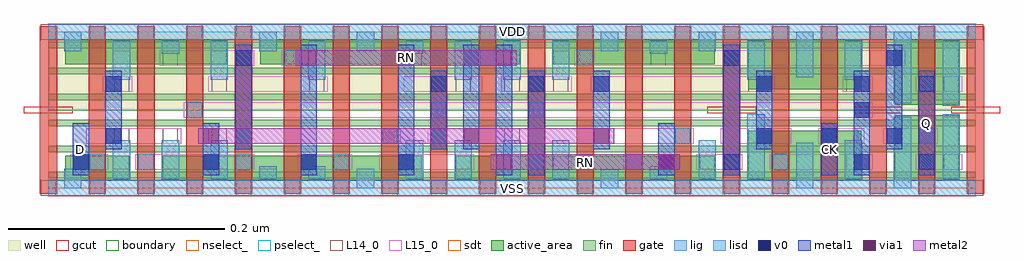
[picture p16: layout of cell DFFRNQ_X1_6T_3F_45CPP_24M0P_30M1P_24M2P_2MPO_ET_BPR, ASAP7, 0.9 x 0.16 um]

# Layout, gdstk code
import gdstk
lib = gdstk.Library(unit=1e-6, precision=2.5e-10)
def R(c, l, rs):  # rectangles x0, y0, x1, y1
    for r in rs: c.add(gdstk.rectangle(r[:2], r[2:], *l))
def A(c, l, x, y, w, h, nx, ny, dx, dy):  # array of equal rectangles
    R(c, l, [(x+i*dx, y+j*dy, x+i*dx+w, y+j*dy+h) for i in range(nx) for j in range(ny)])
well = (1, 0)
fin = (2, 0)
gate = (7, 0)
gcut = (10, 0)
active_area = (11, 0)
nselect_ = (12, 0)
pselect_ = (13, 0)
L14_0 = (14, 0)
L15_0 = (15, 0)
lig = (16, 0)
lisd = (17, 0)
v0 = (18, 0)
metal1 = (19, 0)
metal2 = (20, 0)
via1 = (21, 0)
sdt = (88, 0)
boundary = (100, 0)

dffrnq_x1_6t_3f_45cpp_24 = lib.new_cell('DFFRNQ_X1_6T_3F_45CPP_24M0P_30M1P_24M2P_2MPO_ET_BPR')
R(dffrnq_x1_6t_3f_45cpp_24, well, [(0,0.072,0.855,0.144)])
A(dffrnq_x1_6t_3f_45cpp_24, fin, 0, 0.009, 0.855, 0.006, 1, 6, 0, 0.024)
A(dffrnq_x1_6t_3f_45cpp_24, gate, -0.008, -0.005, 0.016, 0.154, 20, 1, 0.045, 0)
R(dffrnq_x1_6t_3f_45cpp_24, gcut, [(0,-0.0075,0.855,0.0075), (-0.0225,0.069,0.0225,0.075), (0.6075,0.069,0.6525,0.075), (0.7425,0.069,0.7875,0.075), (0.8325,0.069,0.8775,0.075), (0,0.1365,0.855,0.1515)])
A(dffrnq_x1_6t_3f_45cpp_24, active_area, 0.1055, 0.007, 0.059, 0.023, 5, 1, 0.045, 0)
A(dffrnq_x1_6t_3f_45cpp_24, active_area, 0.3755, 0.007, 0.059, 0.023, 5, 1, 0.045, 0)
A(dffrnq_x1_6t_3f_45cpp_24, active_area, 0.0155, 0.114, 0.059, 0.023, 3, 1, 0.045, 0)
A(dffrnq_x1_6t_3f_45cpp_24, active_area, 0.1955, 0.114, 0.059, 0.023, 5, 1, 0.045, 0)
A(dffrnq_x1_6t_3f_45cpp_24, active_area, 0.4655, 0.114, 0.059, 0.023, 3, 1, 0.045, 0)
R(dffrnq_x1_6t_3f_45cpp_24, active_area, [(0.0155,0.007,0.0745,0.03), (0.6455,0.007,0.7045,0.053), (0.6905,0.007,0.7495,0.053), (0.7805,0.007,0.8395,0.067), (0.7805,0.077,0.8395,0.137), (0.6455,0.091,0.7045,0.137), (0.6905,0.091,0.7495,0.137)])
R(dffrnq_x1_6t_3f_45cpp_24, nselect_, [(0,0,0.855,0.072)])
R(dffrnq_x1_6t_3f_45cpp_24, pselect_, [(0,0.072,0.855,0.144)])
A(dffrnq_x1_6t_3f_45cpp_24, L14_0, -0.007, -0.007, 0.014, 0.014, 20, 2, 0.045, 0.144)
A(dffrnq_x1_6t_3f_45cpp_24, L14_0, 0.083, 0.017, 0.014, 0.014, 3, 1, 0.09, 0)
A(dffrnq_x1_6t_3f_45cpp_24, L14_0, 0.4655, 0.017, 0.014, 0.014, 5, 1, 0.0675, 0)
A(dffrnq_x1_6t_3f_45cpp_24, L14_0, 0.0605, 0.041, 0.014, 0.014, 3, 1, 0.045, 0)
A(dffrnq_x1_6t_3f_45cpp_24, L14_0, 0.578, 0.041, 0.014, 0.014, 3, 1, 0.0675, 0)
A(dffrnq_x1_6t_3f_45cpp_24, L14_0, 0.0605, 0.089, 0.014, 0.014, 3, 1, 0.09, 0)
A(dffrnq_x1_6t_3f_45cpp_24, L14_0, 0.3755, 0.089, 0.014, 0.014, 3, 1, 0.045, 0)
A(dffrnq_x1_6t_3f_45cpp_24, L14_0, 0.6455, 0.089, 0.014, 0.014, 3, 1, 0.09, 0)
A(dffrnq_x1_6t_3f_45cpp_24, L14_0, 0.1055, 0.113, 0.014, 0.014, 3, 1, 0.1125, 0)
R(dffrnq_x1_6t_3f_45cpp_24, L14_0, [(0.038,0.017,0.052,0.031), (0.3305,0.017,0.3445,0.031), (0.3755,0.017,0.3895,0.031), (0.8255,0.017,0.8395,0.031), (0.308,0.041,0.322,0.055), (0.4205,0.041,0.4345,0.055), (0.803,0.041,0.817,0.055), (0.128,0.065,0.142,0.079), (0.353,0.065,0.367,0.079), (0.443,0.065,0.457,0.079), (0.398,0.113,0.412,0.127), (0.488,0.113,0.502,0.127), (0.5555,0.113,0.5695,0.127)])
R(dffrnq_x1_6t_3f_45cpp_24, L15_0, [(0,-0.007,0.855,0.007), (0.02,0.017,0.055,0.031), (0.08,0.017,0.19,0.031), (0.23,0.017,0.28,0.031), (0.305,0.017,0.3925,0.031), (0.44,0.017,0.4825,0.031), (0.53,0.017,0.58,0.031), (0.5975,0.017,0.64,0.031), (0.665,0.017,0.76,0.031), (0.8,0.017,0.8425,0.031), (0.035,0.041,0.1225,0.055), (0.1475,0.041,0.325,0.055), (0.35,0.041,0.595,0.055), (0.62,0.041,0.685,0.055), (0.71,0.041,0.7525,0.055), (0.77,0.041,0.82,0.055), (0.125,0.065,0.76,0.079), (0.05,0.089,0.0775,0.103), (0.1475,0.089,0.2575,0.103), (0.3275,0.089,0.4,0.103), (0.4175,0.089,0.4825,0.103), (0.5,0.089,0.67,0.103), (0.7325,0.089,0.76,0.103), (0.8,0.089,0.8425,0.103), (0.1025,0.113,0.19,0.127), (0.215,0.113,0.3475,0.127), (0.38,0.113,0.415,0.127), (0.485,0.113,0.79,0.127), (0,0.137,0.855,0.151)])
A(dffrnq_x1_6t_3f_45cpp_24, lig, 0.083, 0.017, 0.014, 0.014, 3, 1, 0.09, 0)
R(dffrnq_x1_6t_3f_45cpp_24, lig, [(0,-0.007,0.855,0.007), (0.038,0.017,0.052,0.031), (0.533,0.017,0.547,0.031), (0.668,0.017,0.682,0.031), (0.308,0.041,0.322,0.055), (0.578,0.041,0.592,0.055), (0.713,0.041,0.727,0.055), (0.803,0.041,0.817,0.055), (0.128,0.065,0.142,0.079), (0.353,0.065,0.367,0.079), (0.443,0.065,0.457,0.079), (0.218,0.113,0.232,0.127), (0.398,0.113,0.412,0.127), (0.488,0.113,0.502,0.127), (0,0.137,0.855,0.151)])
A(dffrnq_x1_6t_3f_45cpp_24, lisd, 0.0595, 0.008, 0.016, 0.036, 3, 1, 0.045, 0)
A(dffrnq_x1_6t_3f_45cpp_24, lisd, 0.3295, 0.008, 0.016, 0.036, 4, 1, 0.045, 0)
A(dffrnq_x1_6t_3f_45cpp_24, lisd, 0.0595, 0.1, 0.016, 0.036, 3, 1, 0.09, 0)
A(dffrnq_x1_6t_3f_45cpp_24, lisd, 0.3745, 0.1, 0.016, 0.036, 3, 1, 0.045, 0)
A(dffrnq_x1_6t_3f_45cpp_24, lisd, 0.1045, 0.124, 0.016, 0.012, 3, 1, 0.225, 0)
R(dffrnq_x1_6t_3f_45cpp_24, lisd, [(0.0145,0,0.0305,0.018), (0.2845,0,0.3005,0.018), (0.5095,0,0.5255,0.018), (0.6895,0,0.7055,0.042), (0.7795,0,0.7955,0.066), (0.1945,0.008,0.2105,0.02), (0.2395,0.008,0.2555,0.02), (0.5545,0.008,0.5705,0.02), (0.5995,0.008,0.6155,0.044), (0.6445,0.008,0.6605,0.068), (0.7345,0.008,0.7505,0.044), (0.8245,0.008,0.8405,0.068), (0.8245,0.076,0.8405,0.136), (0.7795,0.078,0.7955,0.144), (0.6445,0.1,0.6605,0.136), (0.7345,0.1,0.7505,0.136), (0.6895,0.102,0.7055,0.144), (0.0145,0.126,0.0305,0.144), (0.1945,0.126,0.2105,0.144), (0.2845,0.126,0.3005,0.144), (0.5095,0.126,0.5255,0.144), (0.5995,0.126,0.6155,0.144)])
A(dffrnq_x1_6t_3f_45cpp_24, v0, 0.143, 0.017, 0.014, 0.014, 3, 1, 0.09, 0)
A(dffrnq_x1_6t_3f_45cpp_24, v0, 0.653, 0.041, 0.014, 0.014, 3, 1, 0.06, 0)
R(dffrnq_x1_6t_3f_45cpp_24, v0, [(0.023,0.017,0.037,0.031), (0.443,0.017,0.457,0.031), (0.563,0.017,0.577,0.031), (0.623,0.017,0.637,0.031), (0.743,0.017,0.757,0.031), (0.803,0.017,0.817,0.031), (0.053,0.041,0.067,0.055), (0.173,0.041,0.187,0.055), (0.353,0.041,0.367,0.055), (0.743,0.065,0.757,0.079), (0.053,0.089,0.067,0.103), (0.353,0.089,0.367,0.103), (0.443,0.089,0.457,0.103), (0.503,0.089,0.517,0.103), (0.653,0.089,0.667,0.103), (0.743,0.089,0.757,0.103), (0.803,0.089,0.817,0.103), (0.173,0.113,0.187,0.127), (0.323,0.113,0.337,0.127), (0.383,0.113,0.397,0.127), (0.623,0.113,0.637,0.127), (0.773,0.113,0.787,0.127)])
A(dffrnq_x1_6t_3f_45cpp_24, metal1, 0.2325, 0.012, 0.015, 0.12, 3, 1, 0.09, 0)
A(dffrnq_x1_6t_3f_45cpp_24, metal1, 0.3525, 0.036, 0.015, 0.072, 3, 1, 0.15, 0)
R(dffrnq_x1_6t_3f_45cpp_24, metal1, [(0.0225,0.012,0.0375,0.06), (0.1425,0.012,0.1575,0.06), (0.4425,0.012,0.4575,0.108), (0.5625,0.012,0.5775,0.06), (0.6225,0.012,0.6375,0.132), (0.7125,0.012,0.7275,0.06), (0.7425,0.012,0.7575,0.108), (0.8025,0.012,0.8175,0.108), (0.0525,0.036,0.0675,0.108), (0.1725,0.036,0.1875,0.132), (0.3825,0.036,0.3975,0.132), (0.7725,0.036,0.7875,0.132)])
R(dffrnq_x1_6t_3f_45cpp_24, metal2, [(0.408,0.017,0.582,0.031), (0.138,0.041,0.522,0.055), (0.228,0.113,0.432,0.127)])
R(dffrnq_x1_6t_3f_45cpp_24, via1, [(0.413,0.017,0.427,0.031), (0.563,0.017,0.577,0.031), (0.143,0.041,0.157,0.055), (0.383,0.041,0.397,0.055), (0.503,0.041,0.517,0.055), (0.233,0.113,0.247,0.127), (0.413,0.113,0.427,0.127)])
A(dffrnq_x1_6t_3f_45cpp_24, sdt, 0.0145, 0.012, 0.016, 0.006, 14, 2, 0.045, 0.114)
A(dffrnq_x1_6t_3f_45cpp_24, sdt, 0.6445, 0.012, 0.016, 0.03, 3, 2, 0.045, 0.09)
R(dffrnq_x1_6t_3f_45cpp_24, sdt, [(0.7795,0.012,0.7955,0.066), (0.8245,0.012,0.8405,0.066), (0.7795,0.078,0.7955,0.132), (0.8245,0.078,0.8405,0.132)])
R(dffrnq_x1_6t_3f_45cpp_24, boundary, [(0,0,0.855,0.144)])
dffrnq_x1_6t_3f_45cpp_24.add(gdstk.Label('Q', (0.81,0.06), layer=19, texttype=251))
dffrnq_x1_6t_3f_45cpp_24.add(gdstk.Label('RN', (0.495,0.024), layer=20, texttype=251))
dffrnq_x1_6t_3f_45cpp_24.add(gdstk.Label('RN', (0.33,0.12), layer=20, texttype=251))
dffrnq_x1_6t_3f_45cpp_24.add(gdstk.Label('D', (0.03,0.036), layer=19, texttype=251))
dffrnq_x1_6t_3f_45cpp_24.add(gdstk.Label('CK', (0.72,0.036), layer=19, texttype=251))
dffrnq_x1_6t_3f_45cpp_24.add(gdstk.Label('VDD', (0.4275,0.144), layer=15, texttype=251))
dffrnq_x1_6t_3f_45cpp_24.add(gdstk.Label('VSS', (0.4275,0), layer=15, texttype=251))
dffrnq_x1_6t_3f_45cpp_24.add(gdstk.Label('VDD', (0.4275,0.144), layer=1, texttype=251))
dffrnq_x1_6t_3f_45cpp_24.add(gdstk.Label('VSS', (0.4275,0), layer=3, texttype=251))

lib.write_gds('DFFRNQ_X1_6T_3F_45CPP_24M0P_30M1P_24M2P_2MPO_ET_BPR.gds')
